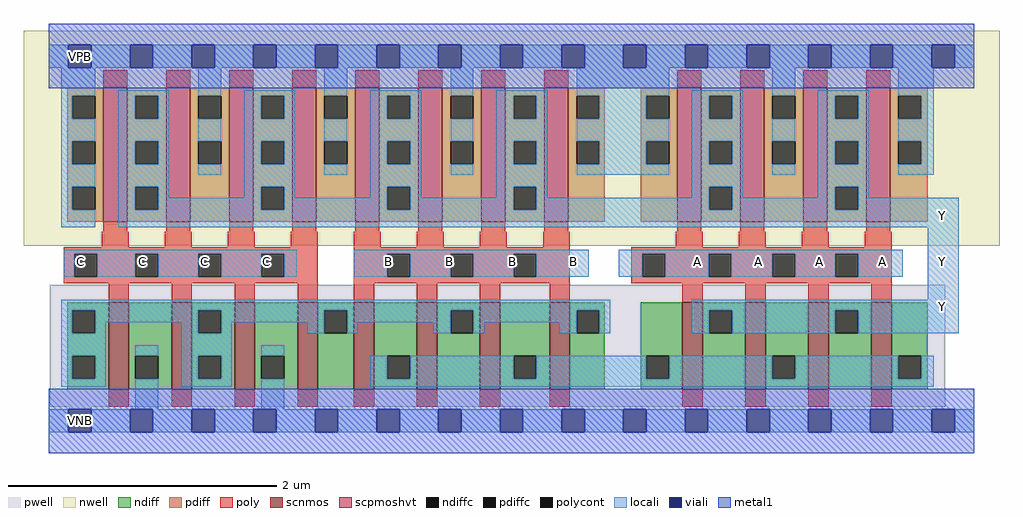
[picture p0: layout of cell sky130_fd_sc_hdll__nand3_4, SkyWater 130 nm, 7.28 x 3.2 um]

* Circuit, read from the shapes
.subckt sky130_fd_sc_hdll__nand3_4 A B C VGND VNB VPB VPWR Y
XM1 VGND C n1 VNB sky130_fd_pr__nfet_01v8 w=0.65 l=0.15 m=4
XM2 n2 B n1 VNB sky130_fd_pr__nfet_01v8 w=0.65 l=0.15 m=4
XM3 Y A n2 VNB sky130_fd_pr__nfet_01v8 w=0.65 l=0.15 m=4
XM4 Y C VPWR VPB sky130_fd_pr__pfet_01v8_hvt w=1 l=0.18 m=4
XM5 Y B VPWR VPB sky130_fd_pr__pfet_01v8_hvt w=1 l=0.18 m=4
XM6 Y A VPWR VPB sky130_fd_pr__pfet_01v8_hvt w=1 l=0.18 m=4
.ends

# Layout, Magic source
magic
tech sky130A
magscale 1 2
<< nwell >>
rect -38 261 1418 582
<< pwell >>
rect 1 21 1337 203
rect 30 -17 64 21
<< scnmos >>
rect 89 47 119 177
rect 183 47 213 177
rect 277 47 307 177
rect 371 47 401 177
rect 455 47 485 177
rect 549 47 579 177
rect 643 47 673 177
rect 747 47 777 177
rect 945 47 975 177
rect 1039 47 1069 177
rect 1133 47 1163 177
rect 1227 47 1257 177
<< scpmoshvt >>
rect 81 297 117 497
rect 175 297 211 497
rect 269 297 305 497
rect 363 297 399 497
rect 457 297 493 497
rect 551 297 587 497
rect 645 297 681 497
rect 739 297 775 497
rect 937 297 973 497
rect 1031 297 1067 497
rect 1125 297 1161 497
rect 1219 297 1255 497
<< ndiff >>
rect 27 165 89 177
rect 27 131 35 165
rect 69 131 89 165
rect 27 97 89 131
rect 27 63 35 97
rect 69 63 89 97
rect 27 47 89 63
rect 119 97 183 177
rect 119 63 129 97
rect 163 63 183 97
rect 119 47 183 63
rect 213 165 277 177
rect 213 131 223 165
rect 257 131 277 165
rect 213 97 277 131
rect 213 63 223 97
rect 257 63 277 97
rect 213 47 277 63
rect 307 97 371 177
rect 307 63 317 97
rect 351 63 371 97
rect 307 47 371 63
rect 401 165 455 177
rect 401 131 411 165
rect 445 131 455 165
rect 401 47 455 131
rect 485 97 549 177
rect 485 63 505 97
rect 539 63 549 97
rect 485 47 549 63
rect 579 165 643 177
rect 579 131 599 165
rect 633 131 643 165
rect 579 47 643 131
rect 673 97 747 177
rect 673 63 693 97
rect 727 63 747 97
rect 673 47 747 63
rect 777 165 829 177
rect 777 131 787 165
rect 821 131 829 165
rect 777 47 829 131
rect 883 97 945 177
rect 883 63 891 97
rect 925 63 945 97
rect 883 47 945 63
rect 975 165 1039 177
rect 975 131 985 165
rect 1019 131 1039 165
rect 975 47 1039 131
rect 1069 97 1133 177
rect 1069 63 1079 97
rect 1113 63 1133 97
rect 1069 47 1133 63
rect 1163 165 1227 177
rect 1163 131 1173 165
rect 1207 131 1227 165
rect 1163 47 1227 131
rect 1257 97 1311 177
rect 1257 63 1267 97
rect 1301 63 1311 97
rect 1257 47 1311 63
<< pdiff >>
rect 27 485 81 497
rect 27 451 35 485
rect 69 451 81 485
rect 27 417 81 451
rect 27 383 35 417
rect 69 383 81 417
rect 27 349 81 383
rect 27 315 35 349
rect 69 315 81 349
rect 27 297 81 315
rect 117 485 175 497
rect 117 451 129 485
rect 163 451 175 485
rect 117 417 175 451
rect 117 383 129 417
rect 163 383 175 417
rect 117 349 175 383
rect 117 315 129 349
rect 163 315 175 349
rect 117 297 175 315
rect 211 485 269 497
rect 211 451 223 485
rect 257 451 269 485
rect 211 417 269 451
rect 211 383 223 417
rect 257 383 269 417
rect 211 297 269 383
rect 305 485 363 497
rect 305 451 317 485
rect 351 451 363 485
rect 305 417 363 451
rect 305 383 317 417
rect 351 383 363 417
rect 305 349 363 383
rect 305 315 317 349
rect 351 315 363 349
rect 305 297 363 315
rect 399 485 457 497
rect 399 451 411 485
rect 445 451 457 485
rect 399 417 457 451
rect 399 383 411 417
rect 445 383 457 417
rect 399 297 457 383
rect 493 485 551 497
rect 493 451 505 485
rect 539 451 551 485
rect 493 417 551 451
rect 493 383 505 417
rect 539 383 551 417
rect 493 349 551 383
rect 493 315 505 349
rect 539 315 551 349
rect 493 297 551 315
rect 587 485 645 497
rect 587 451 599 485
rect 633 451 645 485
rect 587 417 645 451
rect 587 383 599 417
rect 633 383 645 417
rect 587 297 645 383
rect 681 485 739 497
rect 681 451 693 485
rect 727 451 739 485
rect 681 417 739 451
rect 681 383 693 417
rect 727 383 739 417
rect 681 349 739 383
rect 681 315 693 349
rect 727 315 739 349
rect 681 297 739 315
rect 775 485 829 497
rect 775 451 787 485
rect 821 451 829 485
rect 775 417 829 451
rect 775 383 787 417
rect 821 383 829 417
rect 775 297 829 383
rect 883 485 937 497
rect 883 451 891 485
rect 925 451 937 485
rect 883 417 937 451
rect 883 383 891 417
rect 925 383 937 417
rect 883 297 937 383
rect 973 485 1031 497
rect 973 451 985 485
rect 1019 451 1031 485
rect 973 417 1031 451
rect 973 383 985 417
rect 1019 383 1031 417
rect 973 349 1031 383
rect 973 315 985 349
rect 1019 315 1031 349
rect 973 297 1031 315
rect 1067 485 1125 497
rect 1067 451 1079 485
rect 1113 451 1125 485
rect 1067 417 1125 451
rect 1067 383 1079 417
rect 1113 383 1125 417
rect 1067 297 1125 383
rect 1161 485 1219 497
rect 1161 451 1173 485
rect 1207 451 1219 485
rect 1161 417 1219 451
rect 1161 383 1173 417
rect 1207 383 1219 417
rect 1161 349 1219 383
rect 1161 315 1173 349
rect 1207 315 1219 349
rect 1161 297 1219 315
rect 1255 485 1311 497
rect 1255 451 1267 485
rect 1301 451 1311 485
rect 1255 417 1311 451
rect 1255 383 1267 417
rect 1301 383 1311 417
rect 1255 297 1311 383
<< ndiffc >>
rect 35 131 69 165
rect 35 63 69 97
rect 129 63 163 97
rect 223 131 257 165
rect 223 63 257 97
rect 317 63 351 97
rect 411 131 445 165
rect 505 63 539 97
rect 599 131 633 165
rect 693 63 727 97
rect 787 131 821 165
rect 891 63 925 97
rect 985 131 1019 165
rect 1079 63 1113 97
rect 1173 131 1207 165
rect 1267 63 1301 97
<< pdiffc >>
rect 35 451 69 485
rect 35 383 69 417
rect 35 315 69 349
rect 129 451 163 485
rect 129 383 163 417
rect 129 315 163 349
rect 223 451 257 485
rect 223 383 257 417
rect 317 451 351 485
rect 317 383 351 417
rect 317 315 351 349
rect 411 451 445 485
rect 411 383 445 417
rect 505 451 539 485
rect 505 383 539 417
rect 505 315 539 349
rect 599 451 633 485
rect 599 383 633 417
rect 693 451 727 485
rect 693 383 727 417
rect 693 315 727 349
rect 787 451 821 485
rect 787 383 821 417
rect 891 451 925 485
rect 891 383 925 417
rect 985 451 1019 485
rect 985 383 1019 417
rect 985 315 1019 349
rect 1079 451 1113 485
rect 1079 383 1113 417
rect 1173 451 1207 485
rect 1173 383 1207 417
rect 1173 315 1207 349
rect 1267 451 1301 485
rect 1267 383 1301 417
<< poly >>
rect 81 497 117 523
rect 175 497 211 523
rect 269 497 305 523
rect 363 497 399 523
rect 457 497 493 523
rect 551 497 587 523
rect 645 497 681 523
rect 739 497 775 523
rect 937 497 973 523
rect 1031 497 1067 523
rect 1125 497 1161 523
rect 1219 497 1255 523
rect 81 282 117 297
rect 175 282 211 297
rect 269 282 305 297
rect 363 282 399 297
rect 457 282 493 297
rect 551 282 587 297
rect 645 282 681 297
rect 739 282 775 297
rect 937 282 973 297
rect 1031 282 1067 297
rect 1125 282 1161 297
rect 1219 282 1255 297
rect 79 259 119 282
rect 173 259 213 282
rect 267 259 307 282
rect 361 259 401 282
rect 22 249 401 259
rect 22 215 38 249
rect 72 215 129 249
rect 163 215 223 249
rect 257 215 317 249
rect 351 215 401 249
rect 22 205 401 215
rect 89 177 119 205
rect 183 177 213 205
rect 277 177 307 205
rect 371 177 401 205
rect 455 259 495 282
rect 549 259 589 282
rect 643 259 683 282
rect 737 259 777 282
rect 935 259 975 282
rect 1029 259 1069 282
rect 1123 259 1163 282
rect 1217 259 1257 282
rect 455 249 777 259
rect 455 215 505 249
rect 539 215 599 249
rect 633 215 693 249
rect 727 215 777 249
rect 455 205 777 215
rect 869 249 1257 259
rect 869 215 885 249
rect 919 215 984 249
rect 1018 215 1079 249
rect 1113 215 1173 249
rect 1207 215 1257 249
rect 869 205 1257 215
rect 455 177 485 205
rect 549 177 579 205
rect 643 177 673 205
rect 747 177 777 205
rect 945 177 975 205
rect 1039 177 1069 205
rect 1133 177 1163 205
rect 1227 177 1257 205
rect 89 21 119 47
rect 183 21 213 47
rect 277 21 307 47
rect 371 21 401 47
rect 455 21 485 47
rect 549 21 579 47
rect 643 21 673 47
rect 747 21 777 47
rect 945 21 975 47
rect 1039 21 1069 47
rect 1133 21 1163 47
rect 1227 21 1257 47
<< polycont >>
rect 38 215 72 249
rect 129 215 163 249
rect 223 215 257 249
rect 317 215 351 249
rect 505 215 539 249
rect 599 215 633 249
rect 693 215 727 249
rect 885 215 919 249
rect 984 215 1018 249
rect 1079 215 1113 249
rect 1173 215 1207 249
<< locali >>
rect 0 527 29 561
rect 63 527 121 561
rect 155 527 213 561
rect 247 527 305 561
rect 339 527 397 561
rect 431 527 489 561
rect 523 527 581 561
rect 615 527 673 561
rect 707 527 765 561
rect 799 527 857 561
rect 891 527 949 561
rect 983 527 1041 561
rect 1075 527 1133 561
rect 1167 527 1225 561
rect 1259 527 1317 561
rect 1351 527 1380 561
rect 18 485 69 527
rect 18 451 35 485
rect 18 417 69 451
rect 18 383 35 417
rect 18 349 69 383
rect 18 315 35 349
rect 18 289 69 315
rect 103 485 179 493
rect 103 451 129 485
rect 163 451 179 485
rect 103 417 179 451
rect 103 383 129 417
rect 163 383 179 417
rect 103 349 179 383
rect 223 485 257 527
rect 223 417 257 451
rect 223 367 257 383
rect 291 485 367 493
rect 291 451 317 485
rect 351 451 367 485
rect 291 417 367 451
rect 291 383 317 417
rect 351 383 367 417
rect 103 315 129 349
rect 163 333 179 349
rect 291 349 367 383
rect 411 485 445 527
rect 411 417 445 451
rect 411 367 445 383
rect 479 485 555 493
rect 479 451 505 485
rect 539 451 555 485
rect 479 417 555 451
rect 479 383 505 417
rect 539 383 555 417
rect 291 333 317 349
rect 163 315 317 333
rect 351 333 367 349
rect 479 349 555 383
rect 599 485 633 527
rect 599 417 633 451
rect 599 367 633 383
rect 667 485 743 493
rect 667 451 693 485
rect 727 451 743 485
rect 667 417 743 451
rect 667 383 693 417
rect 727 383 743 417
rect 479 333 505 349
rect 351 315 505 333
rect 539 333 555 349
rect 667 349 743 383
rect 787 485 925 527
rect 821 451 891 485
rect 787 417 925 451
rect 821 383 891 417
rect 787 367 925 383
rect 959 485 1035 493
rect 959 451 985 485
rect 1019 451 1035 485
rect 959 417 1035 451
rect 959 383 985 417
rect 1019 383 1035 417
rect 667 333 693 349
rect 539 315 693 333
rect 727 333 743 349
rect 959 349 1035 383
rect 1079 485 1113 527
rect 1079 417 1113 451
rect 1079 367 1113 383
rect 1147 485 1223 493
rect 1147 451 1173 485
rect 1207 451 1223 485
rect 1147 417 1223 451
rect 1147 383 1173 417
rect 1207 383 1223 417
rect 959 333 985 349
rect 727 315 985 333
rect 1019 333 1035 349
rect 1147 349 1223 383
rect 1267 485 1320 527
rect 1301 451 1320 485
rect 1267 417 1320 451
rect 1301 383 1320 417
rect 1267 367 1320 383
rect 1147 333 1173 349
rect 1019 315 1173 333
rect 1207 333 1223 349
rect 1207 315 1357 333
rect 103 289 1357 315
rect 22 249 370 255
rect 22 215 38 249
rect 72 215 129 249
rect 163 215 223 249
rect 257 215 317 249
rect 351 215 370 249
rect 455 249 805 255
rect 455 215 505 249
rect 539 215 599 249
rect 633 215 693 249
rect 727 215 805 249
rect 850 249 1274 255
rect 850 215 885 249
rect 919 215 984 249
rect 1018 215 1079 249
rect 1113 215 1173 249
rect 1207 215 1274 249
rect 1311 181 1357 289
rect 18 165 837 181
rect 18 131 35 165
rect 69 147 223 165
rect 69 131 85 147
rect 18 97 85 131
rect 197 131 223 147
rect 257 147 411 165
rect 257 131 273 147
rect 385 131 411 147
rect 445 147 599 165
rect 445 131 461 147
rect 573 131 599 147
rect 633 147 787 165
rect 633 131 649 147
rect 761 131 787 147
rect 821 131 837 165
rect 959 165 1357 181
rect 959 131 985 165
rect 1019 131 1173 165
rect 1207 131 1357 165
rect 18 63 35 97
rect 69 63 85 97
rect 18 51 85 63
rect 129 97 163 113
rect 129 17 163 63
rect 197 97 273 131
rect 197 63 223 97
rect 257 63 273 97
rect 197 51 273 63
rect 317 97 351 113
rect 317 17 351 63
rect 479 63 505 97
rect 539 63 693 97
rect 727 63 891 97
rect 925 63 1079 97
rect 1113 63 1267 97
rect 1301 63 1320 97
rect 479 51 1320 63
rect 0 -17 29 17
rect 63 -17 121 17
rect 155 -17 213 17
rect 247 -17 305 17
rect 339 -17 397 17
rect 431 -17 489 17
rect 523 -17 581 17
rect 615 -17 673 17
rect 707 -17 765 17
rect 799 -17 857 17
rect 891 -17 949 17
rect 983 -17 1041 17
rect 1075 -17 1133 17
rect 1167 -17 1225 17
rect 1259 -17 1317 17
rect 1351 -17 1380 17
<< viali >>
rect 29 527 63 561
rect 121 527 155 561
rect 213 527 247 561
rect 305 527 339 561
rect 397 527 431 561
rect 489 527 523 561
rect 581 527 615 561
rect 673 527 707 561
rect 765 527 799 561
rect 857 527 891 561
rect 949 527 983 561
rect 1041 527 1075 561
rect 1133 527 1167 561
rect 1225 527 1259 561
rect 1317 527 1351 561
rect 29 -17 63 17
rect 121 -17 155 17
rect 213 -17 247 17
rect 305 -17 339 17
rect 397 -17 431 17
rect 489 -17 523 17
rect 581 -17 615 17
rect 673 -17 707 17
rect 765 -17 799 17
rect 857 -17 891 17
rect 949 -17 983 17
rect 1041 -17 1075 17
rect 1133 -17 1167 17
rect 1225 -17 1259 17
rect 1317 -17 1351 17
<< metal1 >>
rect 0 561 1380 592
rect 0 527 29 561
rect 63 527 121 561
rect 155 527 213 561
rect 247 527 305 561
rect 339 527 397 561
rect 431 527 489 561
rect 523 527 581 561
rect 615 527 673 561
rect 707 527 765 561
rect 799 527 857 561
rect 891 527 949 561
rect 983 527 1041 561
rect 1075 527 1133 561
rect 1167 527 1225 561
rect 1259 527 1317 561
rect 1351 527 1380 561
rect 0 496 1380 527
rect 0 17 1380 48
rect 0 -17 29 17
rect 63 -17 121 17
rect 155 -17 213 17
rect 247 -17 305 17
rect 339 -17 397 17
rect 431 -17 489 17
rect 523 -17 581 17
rect 615 -17 673 17
rect 707 -17 765 17
rect 799 -17 857 17
rect 891 -17 949 17
rect 983 -17 1041 17
rect 1075 -17 1133 17
rect 1167 -17 1225 17
rect 1259 -17 1317 17
rect 1351 -17 1380 17
rect 0 -48 1380 -17
<< labels >>
flabel locali s 1316 153 1350 187 0 FreeSans 200 0 0 0 Y
port 8 nsew signal output
flabel locali s 1316 221 1350 255 0 FreeSans 200 0 0 0 Y
port 8 nsew signal output
flabel locali s 1316 289 1350 323 0 FreeSans 200 0 0 0 Y
port 8 nsew signal output
flabel locali s 1226 221 1260 255 0 FreeSans 200 0 0 0 A
port 1 nsew signal input
flabel locali s 1133 221 1167 255 0 FreeSans 200 0 0 0 A
port 1 nsew signal input
flabel locali s 950 221 984 255 0 FreeSans 200 0 0 0 A
port 1 nsew signal input
flabel locali s 765 221 799 255 0 FreeSans 200 0 0 0 B
port 2 nsew signal input
flabel locali s 675 221 709 255 0 FreeSans 200 0 0 0 B
port 2 nsew signal input
flabel locali s 580 221 614 255 0 FreeSans 200 0 0 0 B
port 2 nsew signal input
flabel locali s 489 221 523 255 0 FreeSans 200 0 0 0 B
port 2 nsew signal input
flabel locali s 307 221 341 255 0 FreeSans 200 0 0 0 C
port 3 nsew signal input
flabel locali s 215 221 249 255 0 FreeSans 200 0 0 0 C
port 3 nsew signal input
flabel locali s 122 221 156 255 0 FreeSans 200 0 0 0 C
port 3 nsew signal input
flabel locali s 1042 221 1076 255 0 FreeSans 200 0 0 0 A
port 1 nsew signal input
flabel locali s 30 221 64 255 0 FreeSans 200 0 0 0 C
port 3 nsew signal input
flabel pwell s 30 -17 64 17 0 FreeSans 200 0 0 0 VNB
port 5 nsew ground bidirectional
flabel nwell s 30 527 64 561 0 FreeSans 200 0 0 0 VPB
port 6 nsew power bidirectional
flabel metal1 s 30 -17 64 17 0 FreeSans 200 0 0 0 VGND
port 4 nsew ground bidirectional
flabel metal1 s 30 527 64 561 0 FreeSans 200 0 0 0 VPWR
port 7 nsew power bidirectional
rlabel comment s 0 0 0 0 4 nand3_4
<< properties >>
string LEFsite unithd
string LEFclass CORE
string FIXED_BBOX 0 0 1380 544
string GDS_FILE $PDKPATH/libs.ref/sky130_fd_sc_hdll/gds/sky130_fd_sc_hdll.gds
string LEFsymmetry X Y R90
string GDS_END 640704
string GDS_START 629152
string LEFproperties maskLayoutSubType "abstract" prCellType "standard" originalViewName "layout"
<< end >>
